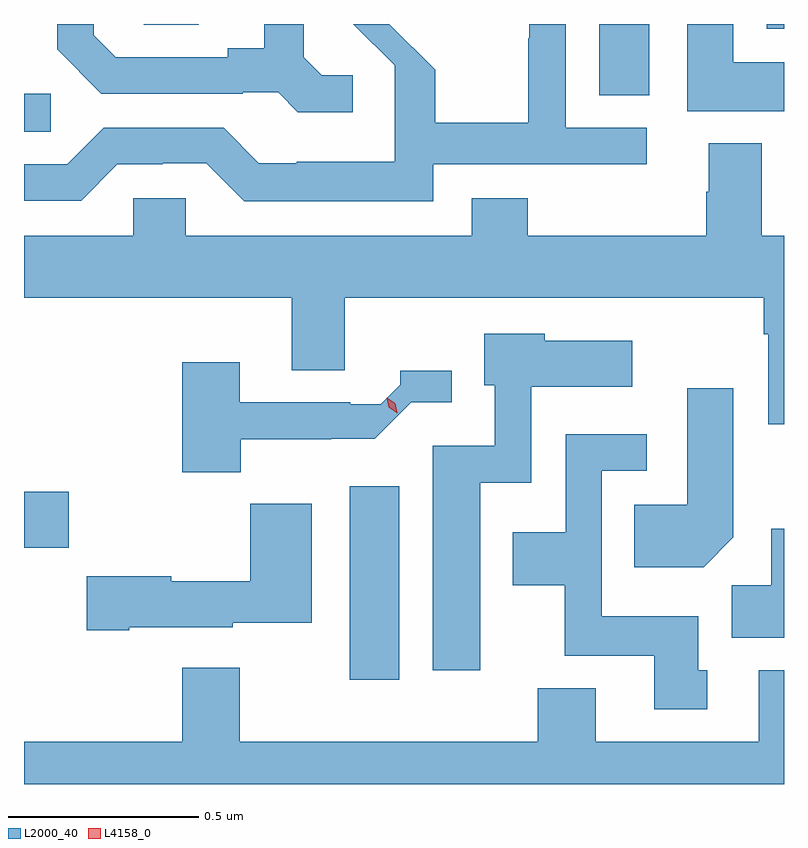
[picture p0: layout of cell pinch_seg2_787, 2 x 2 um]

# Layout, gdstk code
import gdstk
lib = gdstk.Library(unit=1e-6, precision=1e-09)
def R(c, l, rs):  # rectangles x0, y0, x1, y1
    for r in rs: c.add(gdstk.rectangle(r[:2], r[2:], *l))
def P(c, l, *ps):  # polygons
    for p in ps: c.add(gdstk.Polygon(p, *l))
L2000_40 = (2000, 40)
L4158_0 = (4158, 0)

pinch_seg2_787 = lib.new_cell('pinch_seg2_787')
R(pinch_seg2_787, L2000_40, [(662.42,659.952,662.551,660.46), (661.563,660.299,661.681,660.446), (661.563,661.393,661.633,661.494), (663.077,661.489,663.208,661.677), (663.518,661.664,663.563,661.677), (661.878,661.675,662.023,661.677)])
P(pinch_seg2_787, L2000_40, [(662.428,661.542),(662.346,661.542),(662.299,661.589),(662.299,661.677),(662.195,661.677),(662.195,661.613),(662.099,661.613),(662.099,661.59),(661.804,661.59),(661.747,661.647),(661.747,661.677),(661.65,661.677),(661.65,661.61),(661.766,661.494),(662.138,661.494),(662.138,661.497),(662.232,661.497),(662.284,661.445),(662.428,661.445)],
  [(663.563,661.576),(663.43,661.576),(663.43,661.677),(663.308,661.677),(663.308,661.448),(663.563,661.448)],
  [(662.64,661.308),(663.202,661.308),(663.202,661.404),(662.988,661.404),(662.988,661.677),(662.892,661.677),(662.892,661.64),(662.89,661.64),(662.89,661.417),(662.645,661.417),(662.645,661.556),(662.524,661.677),(662.429,661.677),(662.539,661.568),(662.539,661.315),(662.281,661.315),(662.281,661.311),(662.181,661.311),(662.088,661.404),(661.773,661.404),(661.677,661.308),(661.563,661.308),(661.563,661.212),(661.713,661.212),(661.809,661.308),(661.928,661.308),(661.928,661.311),(662.043,661.311),(662.143,661.211),(662.64,661.211)],
  [(663.563,661.12),(663.505,661.12),(663.505,661.363),(663.365,661.363),(663.365,661.236),(663.358,661.236),(663.358,661.12),(662.889,661.12),(662.889,661.219),(662.741,661.219),(662.741,661.12),(661.989,661.12),(661.989,661.218),(661.851,661.218),(661.851,661.12),(661.563,661.12),(661.563,660.956),(662.267,660.956),(662.267,660.766),(662.407,660.766),(662.407,660.956),(663.51,660.956),(663.51,660.86),(663.522,660.86),(663.522,660.624),(663.563,660.624)],
  [(662.764,660.47),(662.898,660.47),(662.898,660.722),(663.163,660.722),(663.163,660.844),(662.934,660.844),(662.934,660.862),(662.774,660.862),(662.774,660.726),(662.802,660.726),(662.802,660.567),(662.639,660.567),(662.639,659.976),(662.764,659.976)],
  [(662.134,660.584),(662.372,660.584),(662.372,660.585),(662.486,660.585),(662.582,660.681),(662.689,660.681),(662.689,660.764),(662.553,660.764),(662.553,660.728),(662.502,660.677),(662.421,660.677),(662.421,660.681),(662.131,660.681),(662.131,660.787),(661.979,660.787),(661.979,660.497),(662.134,660.497)],
  [(663.43,660.326),(663.43,660.718),(663.308,660.718),(663.308,660.412),(663.169,660.412),(663.169,660.248),(663.352,660.248)],
  [(663.361,659.976),(663.337,659.976),(663.337,660.118),(663.084,660.118),(663.084,660.501),(663.202,660.501),(663.202,660.597),(662.988,660.597),(662.988,660.34),(662.849,660.34),(662.849,660.2),(662.986,660.2),(662.986,660.014),(663.221,660.014),(663.221,659.874),(663.361,659.874)],
  [(661.84,660.089),(662.112,660.089),(662.112,660.101),(662.32,660.101),(662.32,660.415),(662.158,660.415),(662.158,660.211),(661.95,660.211),(661.95,660.224),(661.728,660.224),(661.728,660.082),(661.84,660.082)],
  [(663.563,660.349),(663.53,660.349),(663.53,660.2),(663.425,660.2),(663.425,660.062),(663.563,660.062)],
  [(663.563,659.977),(663.497,659.977),(663.497,659.788),(663.067,659.788),(663.067,659.929),(662.915,659.929),(662.915,659.788),(662.131,659.788),(662.131,659.983),(661.979,659.983),(661.979,659.788),(661.563,659.788),(661.563,659.677),(663.563,659.677)])
P(pinch_seg2_787, L4158_0, [(662.545,660.653),(662.523,660.668),(662.518,660.693),(662.518,660.693),(662.518,660.693),(662.54,660.679),(662.545,660.654),(662.545,660.653)])

lib.write_gds('pinch_seg2_787.gds')
